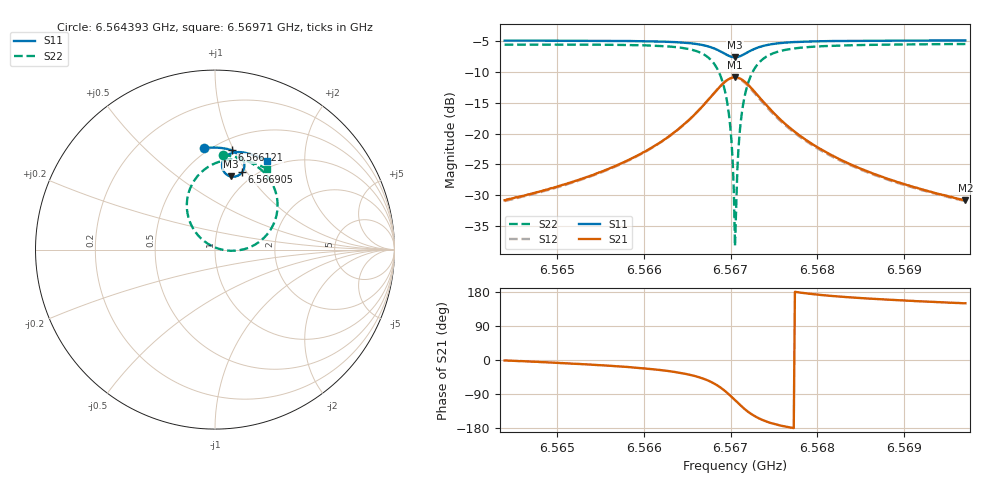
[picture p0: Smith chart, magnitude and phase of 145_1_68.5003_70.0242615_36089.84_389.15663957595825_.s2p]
#  HZ  S  RI  R  50.00
! Rohde & Schwarz Vector Network Analyzer
! Rohde-Schwarz,ZNB20-2Port,1311601062101988,3.16
! Created: UTC 3/20/2024, 4:55:02 PM
! freq[Hz]  re:S11  im:S11  re:S21  im:S21  re:S12  im:S12  re:S22  im:S22
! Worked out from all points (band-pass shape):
!   401 points, 6.564393 GHz to 6.56971 GHz, reference 50 ohm
!   highest |S21| = -10.86 dB at 6.567052 GHz (marker M1); lowest = -30.9 dB at 6.56971 GHz (marker M2)
!   |S21| within 3 dB of the highest: 6.566784 GHz to 6.567317 GHz (532.9 kHz wide, 0.00811 % of centre)
!   lowest |S11| = -7.6 dB at 6.567052 GHz (marker M3), VSWR 2.43, Z = 41.4 + j40.8 ohm
!   |S11| at or under -10 dB: nowhere
!   |S22| runs from -38.3 to -5.4 dB; largest |S21 - S12| = 0.014
!   S11 on the Smith chart (normalised r, x): 6.564393 GHz: 0.47, +0.78; 6.566121 GHz: 0.61, +0.98; 6.566905 GHz: 0.87, +0.95; 6.56971 GHz: 0.90, +1.32
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6.5643929e9  -0.0596 0.5662  0.0287 -0.000655  0.0282 -0.00101  0.042 0.5265
6.5652836e9  0.0137 0.5679  0.042 -0.00818  0.0414 -0.00874  0.1276 0.5123
6.5661211e9  0.0928 0.5533  0.0718 -0.0332  0.0707 -0.0339  0.2392 0.4594
6.5661743e9  0.0984 0.5511  0.075 -0.0367  0.0739 -0.0376  0.2487 0.4521
6.5666927e9  0.1588 0.4967  0.1103 -0.1308  0.1078 -0.1334  0.3477 0.2687
6.5668123e9  0.1636 0.4634  0.0995 -0.1891  0.0945 -0.1927  0.3325 0.1575
6.5669054e9  0.151 0.4312  0.0601 -0.2445  0.0516 -0.2474  0.2608 0.0546
6.5669453e9  0.1385 0.4185  0.0304 -0.265  0.0199 -0.2664  0.2054 0.0183
6.5669852e9  0.1215 0.4095  -0.00735 -0.2783  -0.0193 -0.2774  0.1362 -0.00329
6.5670117e9  0.1084 0.4065  -0.0357 -0.2813  -0.0481 -0.2785  0.0851 -0.0064
6.567025e9  0.1015 0.4061  -0.0501 -0.281  -0.0626 -0.2769  0.0592 -0.00412
6.5670383e9  0.0945 0.4065  -0.0648 -0.2789  -0.0772 -0.2738  0.0335 0.00103
6.5670516e9  0.0876 0.4077  -0.079 -0.2754  -0.0912 -0.2694  0.00838 0.00877
6.5670782e9  0.0744 0.4122  -0.1064 -0.2646  -0.1175 -0.2564  -0.0382 0.0317
6.5671048e9  0.063 0.4194  -0.1307 -0.2488  -0.1401 -0.239  -0.0783 0.0628
6.5671314e9  0.0534 0.4288  -0.1505 -0.2294  -0.1582 -0.2184  -0.1103 0.0995
6.5671846e9  0.042 0.4506  -0.1764 -0.1859  -0.1804 -0.1742  -0.148 0.1794
6.567251e9  0.0397 0.4771  -0.1862 -0.1341  -0.1863 -0.1234  -0.1557 0.2714
6.5675036e9  0.0779 0.5309  -0.1428 -0.0283  -0.1396 -0.0239  -0.055 0.449
6.5679423e9  0.1406 0.5432  -0.0816 0.0086  -0.0798 0.00984  0.0827 0.5007
6.568833e9  0.2246 0.5233  -0.0396 0.0152  -0.0387 0.0154  0.2135 0.4834
6.5697103e9  0.2899 0.4922  -0.0247 0.0144  -0.0241 0.0146  0.2916 0.4478
